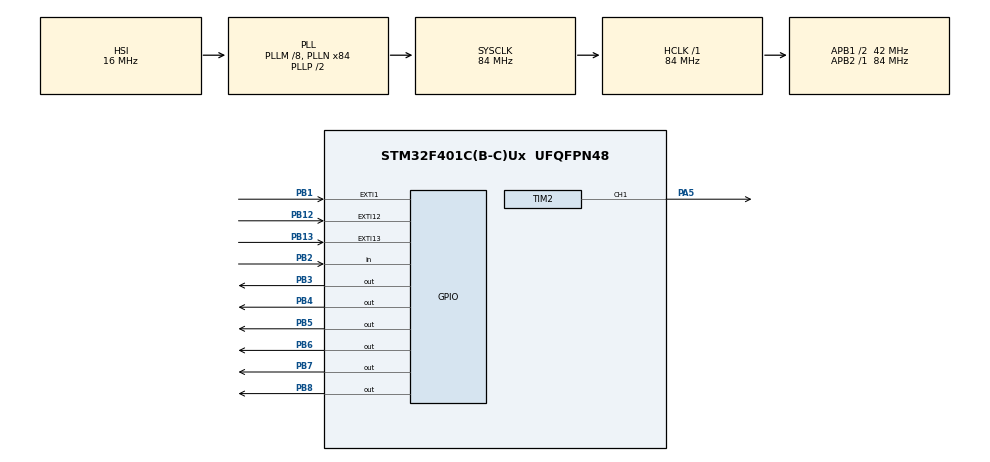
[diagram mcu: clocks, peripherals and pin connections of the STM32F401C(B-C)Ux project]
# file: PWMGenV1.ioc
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Mcu.Family=STM32F4
Mcu.Name=STM32F401C(B-C)Ux
Mcu.Package=UFQFPN48
NVIC.EXTI15_10_IRQn=true\:0\:0\:false\:false\:true\:true\:true\:true
NVIC.EXTI1_IRQn=true\:0\:0\:false\:false\:true\:true\:true\:true
NVIC.PriorityGroup=NVIC_PRIORITYGROUP_4
PA5.GPIO_PuPd=GPIO_PULLDOWN
PA5.GPIO_Speed=GPIO_SPEED_FREQ_VERY_HIGH
PA5.Signal=S_TIM2_CH1_ETR
PB1.GPIO_ModeDefaultEXTI=GPIO_MODE_IT_FALLING
PB1.GPIO_PuPd=GPIO_PULLUP
PB1.Signal=GPXTI1
PB12.GPIO_ModeDefaultEXTI=GPIO_MODE_IT_RISING
PB12.GPIO_PuPd=GPIO_PULLUP
PB12.Signal=GPXTI12
PB13.GPIO_PuPd=GPIO_PULLUP
PB13.Signal=GPXTI13
PB2.GPIO_PuPd=GPIO_PULLUP
PB2.Signal=GPIO_Input
PB3.GPIO_PuPd=GPIO_PULLUP
PB3.Signal=GPIO_Output
PB4.GPIO_PuPd=GPIO_PULLUP
PB4.Signal=GPIO_Output
PB5.GPIO_PuPd=GPIO_PULLUP
PB5.Signal=GPIO_Output
PB6.GPIO_PuPd=GPIO_PULLUP
PB6.Signal=GPIO_Output
PB7.GPIO_PuPd=GPIO_PULLUP
PB7.Signal=GPIO_Output
PB8.GPIO_PuPd=GPIO_PULLUP
PB8.Signal=GPIO_Output
PH0\ -\ OSC_IN.Mode=HSE-External-Oscillator
PH0\ -\ OSC_IN.Signal=RCC_OSC_IN
PH1\ -\ OSC_OUT.Mode=HSE-External-Oscillator
PH1\ -\ OSC_OUT.Signal=RCC_OSC_OUT
ProjectManager.HeapSize=0x200
ProjectManager.StackSize=0x400
ProjectManager.TargetToolchain=STM32CubeIDE
RCC.48MHZClocksFreq_Value=42000000
RCC.AHBFreq_Value=84000000
RCC.APB1CLKDivider=RCC_HCLK_DIV2
RCC.APB1Freq_Value=42000000
RCC.APB1TimFreq_Value=84000000
RCC.APB2Freq_Value=84000000
RCC.APB2TimFreq_Value=84000000
RCC.CortexFreq_Value=84000000
RCC.HCLKFreq_Value=84000000
RCC.HSE_VALUE=25000000
RCC.HSI_VALUE=16000000
RCC.LSE_VALUE=32768
RCC.PLLM=8
RCC.PLLN=84
RCC.SYSCLKFreq_VALUE=84000000
RCC.SYSCLKSource=RCC_SYSCLKSOURCE_PLLCLK
RCC.VCOOutputFreq_Value=168000000
SH.S_TIM2_CH1_ETR.0=TIM2_CH1,PWM Generation1 CH1
TIM2.AutoReloadPreload=TIM_AUTORELOAD_PRELOAD_ENABLE
TIM2.Channel-PWM\ Generation1\ CH1=TIM_CHANNEL_1
TIM2.Period=1399
VP_TIM2_VS_ClockSourceINT.Mode=Internal
board=custom

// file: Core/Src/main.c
/* USER CODE BEGIN Header */
/**
  ******************************************************************************
  * @file           : main.c
  * @brief          : Main program body
  ******************************************************************************
  * @attention
  *
  * Copyright (c) 2023 STMicroelectronics.
  * All rights reserved.
  *
  * This software is licensed under terms that can be found in the LICENSE file
  * in the root directory of this software component.
  * If no LICENSE file comes with this software, it is provided AS-IS.
  *
  ******************************************************************************
  */
/* USER CODE END Header */
#include "main.h"

/* USER CODE BEGIN Includes */
#include "stdio.h"
#include "LCD16x2.h"
/* USER CODE END Includes */

TIM_HandleTypeDef htim2;

void SystemClock_Config(void);
static void MX_GPIO_Init(void);
static void MX_TIM2_Init(void);
/* USER CODE BEGIN PFP */
void HAL_GPIO_EXTI_Callback(uint16_t GPIO_Pin);
static void LCD_Change_Menu(void);
static void LCD_Update(void);
static void LCD_Update_Mul(void);
static void Menu_Front(void);
static void Menu_Set(void);
static void Menu_Set_DS(void);
static void Menu_Set_Freq(void);
static void PWM_Calc(void);
static void PWM_Gen(void);
static void PWM_Stop(void);
/* USER CODE END PFP */

/* USER CODE BEGIN 0 */
int ds;
int freq;
int menu;
int pointer_pos;
int multiplier;
int generate_pwm;

char int_str_ds[3];
char int_str_freq[5];
char int_str_mul;

int LCDRefresh;
int LCDRefreshMenu;
int LCDRefreshPWM;
int LCDRefreshMul;
int PWMRefresh;
int PWMToggle;

int CLKNow;
int CLKPrev;
int DTNow;
int DTPrev;
/* USER CODE END 0 */

int main(void)
{

  /* MCU Configuration--------------------------------------------------------*/

  /* Reset of all peripherals, Initializes the Flash interface and the Systick. */
  HAL_Init();

  /* Configure the system clock */
  SystemClock_Config();

  /* Initialize all configured peripherals */
  MX_GPIO_Init();
  MX_TIM2_Init();
  /* USER CODE BEGIN 2 */
  CLKPrev = HAL_GPIO_ReadPin(GPIOB, GPIO_PIN_1);
  DTPrev = HAL_GPIO_ReadPin(GPIOB, GPIO_PIN_2);
  ds = 50;
  freq = 1000;
  menu = 1;
  pointer_pos = 1;
  multiplier = 0;
  generate_pwm = 0;

  LCDRefresh = 1;
  LCDRefreshPWM = 1;
  LCDRefreshMenu = 1;
  LCDRefreshMul = 0;
  PWMRefresh = 1;
  PWMToggle = 0;

  LCD_Init();
  /* USER CODE END 2 */

  /* Infinite loop */
  while (1)
  {

    /* USER CODE BEGIN 3 */
	  if (LCDRefresh == 1)
	  {
		  if (LCDRefreshMenu == 1)
		  {
			  LCD_Change_Menu();
			  LCDRefreshMenu = 0;
		  }
		  LCD_Update();
		  LCDRefresh = 0;
		  LCDRefreshPWM = 0;
	  }
	  if (LCDRefreshMul == 1)
	  {
		  LCD_Update_Mul();
		  LCDRefreshMul = 0;
	  }
	  if (PWMRefresh == 1)
	  {
		  PWM_Calc();
		  PWMRefresh = 0;
	  }
	  if (PWMToggle == 1)
	  {
		  if(generate_pwm == 1)
		  {
			  PWM_Gen();
		  }
		  else
		  {
			  PWM_Stop();
		  }
		  PWMToggle = 0;
	  }
  }
  /* USER CODE END 3 */
}

void SystemClock_Config(void)
{
  RCC_OscInitTypeDef RCC_OscInitStruct = {0};
  RCC_ClkInitTypeDef RCC_ClkInitStruct = {0};

  /** Configure the main internal regulator output voltage
  */
  __HAL_RCC_PWR_CLK_ENABLE();
  __HAL_PWR_VOLTAGESCALING_CONFIG(PWR_REGULATOR_VOLTAGE_SCALE2);

  /** Initializes the RCC Oscillators according to the specified parameters
  * in the RCC_OscInitTypeDef structure.
  */
  RCC_OscInitStruct.OscillatorType = RCC_OSCILLATORTYPE_HSI;
  RCC_OscInitStruct.HSIState = RCC_HSI_ON;
  RCC_OscInitStruct.HSICalibrationValue = RCC_HSICALIBRATION_DEFAULT;
  RCC_OscInitStruct.PLL.PLLState = RCC_PLL_ON;
  RCC_OscInitStruct.PLL.PLLSource = RCC_PLLSOURCE_HSI;
  RCC_OscInitStruct.PLL.PLLM = 8;
  RCC_OscInitStruct.PLL.PLLN = 84;
  RCC_OscInitStruct.PLL.PLLP = RCC_PLLP_DIV2;
  RCC_OscInitStruct.PLL.PLLQ = 4;
  if (HAL_RCC_OscConfig(&RCC_OscInitStruct) != HAL_OK)
  {
    Error_Handler();
  }

  /** Initializes the CPU, AHB and APB buses clocks
  */
  RCC_ClkInitStruct.ClockType = RCC_CLOCKTYPE_HCLK|RCC_CLOCKTYPE_SYSCLK
                              |RCC_CLOCKTYPE_PCLK1|RCC_CLOCKTYPE_PCLK2;
  RCC_ClkInitStruct.SYSCLKSource = RCC_SYSCLKSOURCE_PLLCLK;
  RCC_ClkInitStruct.AHBCLKDivider = RCC_SYSCLK_DIV1;
  RCC_ClkInitStruct.APB1CLKDivider = RCC_HCLK_DIV2;
  RCC_ClkInitStruct.APB2CLKDivider = RCC_HCLK_DIV1;

  if (HAL_RCC_ClockConfig(&RCC_ClkInitStruct, FLASH_LATENCY_2) != HAL_OK)
  {
    Error_Handler();
  }
}

static void MX_TIM2_Init(void)
{

  TIM_ClockConfigTypeDef sClockSourceConfig = {0};
  TIM_MasterConfigTypeDef sMasterConfig = {0};
  TIM_OC_InitTypeDef sConfigOC = {0};

  htim2.Instance = TIM2;
  htim2.Init.Prescaler = 0;
  htim2.Init.CounterMode = TIM_COUNTERMODE_UP;
  htim2.Init.Period = 1399;
  htim2.Init.ClockDivision = TIM_CLOCKDIVISION_DIV1;
  htim2.Init.AutoReloadPreload = TIM_AUTORELOAD_PRELOAD_ENABLE;
  if (HAL_TIM_Base_Init(&htim2) != HAL_OK)
  {
    Error_Handler();
  }
  sClockSourceConfig.ClockSource = TIM_CLOCKSOURCE_INTERNAL;
  if (HAL_TIM_ConfigClockSource(&htim2, &sClockSourceConfig) != HAL_OK)
  {
    Error_Handler();
  }
  if (HAL_TIM_PWM_Init(&htim2) != HAL_OK)
  {
    Error_Handler();
  }
  sMasterConfig.MasterOutputTrigger = TIM_TRGO_RESET;
  sMasterConfig.MasterSlaveMode = TIM_MASTERSLAVEMODE_DISABLE;
  if (HAL_TIMEx_MasterConfigSynchronization(&htim2, &sMasterConfig) != HAL_OK)
  {
    Error_Handler();
  }
  sConfigOC.OCMode = TIM_OCMODE_PWM1;
  sConfigOC.Pulse = 0;
  sConfigOC.OCPolarity = TIM_OCPOLARITY_HIGH;
  sConfigOC.OCFastMode = TIM_OCFAST_DISABLE;
  if (HAL_TIM_PWM_ConfigChannel(&htim2, &sConfigOC, TIM_CHANNEL_1) != HAL_OK)
  {
    Error_Handler();
  }
  HAL_TIM_MspPostInit(&htim2);

}

static void MX_GPIO_Init(void)
{
  GPIO_InitTypeDef GPIO_InitStruct = {0};

  /* GPIO Ports Clock Enable */
  __HAL_RCC_GPIOH_CLK_ENABLE();
  __HAL_RCC_GPIOA_CLK_ENABLE();
  __HAL_RCC_GPIOB_CLK_ENABLE();

  /*Configure GPIO pin Output Level */
  HAL_GPIO_WritePin(GPIOB, GPIO_PIN_3|GPIO_PIN_4|GPIO_PIN_5|GPIO_PIN_6
                          |GPIO_PIN_7|GPIO_PIN_8, GPIO_PIN_RESET);

  /*Configure GPIO pin : PB1 */
  GPIO_InitStruct.Pin = GPIO_PIN_1;
  GPIO_InitStruct.Mode = GPIO_MODE_IT_FALLING;
  GPIO_InitStruct.Pull = GPIO_PULLUP;
  HAL_GPIO_Init(GPIOB, &GPIO_InitStruct);

  /*Configure GPIO pin : PB2 */
  GPIO_InitStruct.Pin = GPIO_PIN_2;
  GPIO_InitStruct.Mode = GPIO_MODE_INPUT;
  GPIO_InitStruct.Pull = GPIO_PULLUP;
  HAL_GPIO_Init(GPIOB, &GPIO_InitStruct);

  /*Configure GPIO pins : PB12 PB13 */
  GPIO_InitStruct.Pin = GPIO_PIN_12|GPIO_PIN_13;
  GPIO_InitStruct.Mode = GPIO_MODE_IT_RISING;
  GPIO_InitStruct.Pull = GPIO_PULLUP;
  HAL_GPIO_Init(GPIOB, &GPIO_InitStruct);

  /*Configure GPIO pins : PB3 PB4 PB5 PB6
                           PB7 PB8 */
  GPIO_InitStruct.Pin = GPIO_PIN_3|GPIO_PIN_4|GPIO_PIN_5|GPIO_PIN_6
                          |GPIO_PIN_7|GPIO_PIN_8;
  GPIO_InitStruct.Mode = GPIO_MODE_OUTPUT_PP;
  GPIO_InitStruct.Pull = GPIO_PULLUP;
  GPIO_InitStruct.Speed = GPIO_SPEED_FREQ_LOW;
  HAL_GPIO_Init(GPIOB, &GPIO_InitStruct);

  /* EXTI interrupt init*/
  HAL_NVIC_SetPriority(EXTI1_IRQn, 0, 0);
  HAL_NVIC_EnableIRQ(EXTI1_IRQn);

  HAL_NVIC_SetPriority(EXTI15_10_IRQn, 0, 0);
  HAL_NVIC_EnableIRQ(EXTI15_10_IRQn);

}

/* USER CODE BEGIN 4 */
static void LCD_Change_Menu(void)
{
	LCD_Clear();
	switch (menu)
	{
	case 1:
		Menu_Front();
	break;
	case 2:
		Menu_Set();
	break;
	case 3:
		Menu_Set_DS();
	break;
	case 4:
		Menu_Set_Freq();
	break;
	}
	pointer_pos = 1;
	multiplier = 0;
}
static void LCD_Update(void)
{
	switch (menu)
	{
	case 1:
		LCD_Set_Cursor(1, 3);
		LCD_Write_String("     ");
		LCD_Set_Cursor(2, 3);
		LCD_Write_String("     ");
		sprintf(int_str_ds, "%d", ds);
		LCD_Set_Cursor(1, 3);
		LCD_Write_String(int_str_ds);
		sprintf(int_str_freq, "%d", freq);
		LCD_Set_Cursor(2, 3);
		LCD_Write_String(int_str_freq);
		if (LCDRefreshPWM == 1)
		{
			LCD_Set_Cursor(1, 14);
			if (generate_pwm == 1)
			{
				LCD_Write_String("ON ");
			}
			else
			{
				LCD_Write_String("OFF");
			}
		}
		if (pointer_pos == 1)
		{
			LCD_Set_Cursor(2, 13);
			LCD_Write_Char(0xFE);
			LCD_Set_Cursor(1, 13);
			LCD_Write_Char(0x7E);
		}
		else
		{
			LCD_Set_Cursor(1, 13);
			LCD_Write_Char(0xFE);
			LCD_Set_Cursor(2, 13);
			LCD_Write_Char(0x7E);
		}
	break;
	case 2:
		LCD_Set_Cursor(1, 1);
		LCD_Write_Char(0xFE);
		LCD_Set_Cursor(2, 1);
		LCD_Write_Char(0xFE);
		LCD_Set_Cursor(1, 10);
		LCD_Write_Char(0xFE);
		if(pointer_pos == 1)
		{
			LCD_Set_Cursor(1, 1);
			LCD_Write_Char(0x7E);
		}
		else if(pointer_pos == 2)
		{
			LCD_Set_Cursor(2, 1);
			LCD_Write_Char(0x7E);
		}
		else
		{
			LCD_Set_Cursor(1, 10);
			LCD_Write_Char(0x7E);
		}
	break;
	case 3:
		sprintf(int_str_ds, "%d", ds);
		LCD_Set_Cursor(2, 1);
		LCD_Write_String("   ");
		LCD_Set_Cursor(2, 1);
		LCD_Write_String(int_str_ds);
	break;
	case 4:
		sprintf(int_str_freq, "%d", freq);
		LCD_Set_Cursor(2, 1);
		LCD_Write_String("     ");
		LCD_Set_Cursor(2, 1);
		LCD_Write_String(int_str_freq);
	break;
	}
}
static void LCD_Update_Mul(void)
{
	if (menu == 3 || menu == 4)
	{
		int_str_mul = multiplier + '0';
		LCD_Set_Cursor(1, 16);
		LCD_Write_Char(int_str_mul);
	}
}
static void Menu_Front(void)
{
	LCD_Set_Cursor(1, 1);
	LCD_Write_String("D        %      ");
	LCD_Set_Cursor(2, 1);
	LCD_Write_String("F        Hz  SET");
}
static void Menu_Set(void)
{
	LCD_Set_Cursor(1, 1);
	LCD_Write_String(" DS       Return");
	LCD_Set_Cursor(2, 1);
	LCD_Write_String(" Freq           ");
}
static void Menu_Set_DS(void)
{
	LCD_Set_Cursor(1, 1);
	LCD_Write_String("Duty Cycle    M ");
	LCD_Set_Cursor(2, 1);
	LCD_Write_String("               %");
}
static void Menu_Set_Freq(void)
{
	LCD_Set_Cursor(1, 1);
	LCD_Write_String("Frequency     M ");
	LCD_Set_Cursor(2, 1);
	LCD_Write_String("              Hz");
}
static void PWM_Calc(void)
{
	if (freq > 0)
	{
		//TIM2->ARR = 84004200 - (4200 * freq);
		TIM2->PSC = (60000 / freq) - 1;
		if (ds != 0 && ds != 100)
		{
//			TIM2->CCR1 = (TIM2->ARR / 100) * ds;
			TIM2->CCR1 = (TIM2->ARR / 100) * ds;
		}
	}
}
static void PWM_Gen(void)
{
	if (ds == 100 || freq == 0)
	{
		HAL_GPIO_WritePin(GPIOA, GPIO_PIN_5, 0);
	}
	else if (ds == 0)
	{
		HAL_GPIO_WritePin(GPIOA, GPIO_PIN_5, 1);
	}
	else
	{
		HAL_TIM_PWM_Start(&htim2, TIM_CHANNEL_1);
	}
}
static void PWM_Stop(void)
{
	HAL_TIM_PWM_Stop(&htim2, TIM_CHANNEL_1);
	HAL_GPIO_WritePin(GPIOA, GPIO_PIN_5, 0);
}
void HAL_GPIO_EXTI_Callback(uint16_t GPIO_Pin)
{
    if (GPIO_Pin == GPIO_PIN_1)
    {
    	switch(menu)
    	{
    	case 1:
    			if (pointer_pos == 1)
    			{
    				pointer_pos = 2;
    			}
    			else
    			{
    				pointer_pos = 1;
    			}
    	break;
    	case 2:
    			if (HAL_GPIO_ReadPin(GPIOB, GPIO_PIN_2) == 0)
    			{
    				if (pointer_pos < 3)
    				{
    					pointer_pos++;
    				}
    				else
    				{
    					pointer_pos = 1;
    				}
    			}
    			else
    			{
    				if (pointer_pos > 1 )
    				{
    					pointer_pos--;
    				}
    				else
    				{
    					pointer_pos = 3;
    				}
    			}
    	break;
    	case 3:
    			if (HAL_GPIO_ReadPin(GPIOB, GPIO_PIN_2) == 0)
    			{
    				if (ds < 100)
    				{
    					if(multiplier == 1 && ds <= 90)
    					{
    						ds = ds + 10;
    					}
    					else if (multiplier == 1 && ds > 90)
    					{
    						ds = 100;
    					}
    					else
    					{
    						ds++;
    					}
    				}
    				else
    				{
    					ds = 100;
    				}
    			}
    			else if ((HAL_GPIO_ReadPin(GPIOB, GPIO_PIN_2) == 1))
    			{
    				if (ds > 0)
    				{
    					if(multiplier == 1 && ds >= 10)
    					{
    						ds = ds - 10;
    					}
    					else if (multiplier == 1 && ds < 10)
    					{
    						ds = 0;
    					}
    					else
    					{
    						ds--;
    					}
    				}
    				else
    				{
    					ds = 0;
    				}
    			}
    	break;
    	case 4:
    			if (HAL_GPIO_ReadPin(GPIOB, GPIO_PIN_2) == 0)
    			{
    				if (freq < 20000)
    				{
    					if(multiplier == 1 && freq <= 19990)
    					{
    						freq = freq + 10;
    					}
    					else if (multiplier == 1 && freq > 19990)
    					{
    						freq = 20000;
    					}
    					else if (multiplier == 2 && freq <= 19900)
    					{
    						freq = freq + 100;
    					}
    					else if (multiplier == 2 && freq > 19900)
    					{
    						freq = 20000;
    					}
    					else if (multiplier == 3 && freq <= 19000)
    					{
    						freq = freq + 1000;
    					}
    					else if (multiplier == 3 && freq > 19000)
    					{
    						freq = 20000;
    					}
    					else
    					{
    						freq++;
    					}
    				}
    				else
    				{
    					freq = 20000;
    				}
    			}
    			else
    			{
    				if (freq > 0)
    				{
    					if(multiplier == 1 && freq >= 10)
    					{
    						freq = freq - 10;
    					}
    					else if (multiplier == 1 && freq < 10)
    					{
    						freq = 0;
    					}
    					else if (multiplier == 2 && freq >= 100)
    					{
    						freq = freq - 100;
    					}
    					else if (multiplier == 2 && freq < 100)
    					{
    						freq = 0;
    					}
    					else if (multiplier == 3 && freq >= 1000)
    					{
    						freq = freq - 1000;
    					}
    					else if (multiplier == 3 && freq < 1000)
    					{
    						freq = 0;
    					}
    					else
    					{
    						freq--;
    					}
    				}
    				else
    				{
    					freq = 0;
    				}
    			}
    	break;
    	}
    	LCDRefresh = 1;
    }
    else if (GPIO_Pin == GPIO_PIN_12)
    {
    	switch(menu)
    	{
    	case 1:
    		if (pointer_pos == 1)
    		{
    			generate_pwm ^= 1;
    			LCDRefreshPWM = 1;
    			PWMToggle = 1;
    		}
    		else
    		{
    			menu = 2;
    			LCDRefreshMenu = 1;
    		}
    	break;
    	case 2:
    	    if (pointer_pos == 1)
    	    {
    	    	menu = 3;
    	    	LCDRefreshMul = 1;
    	    }
    	    else if (pointer_pos == 2)
    	    {
    	    	menu = 4;
    	    	LCDRefreshMul = 1;
    	    }
    	    else
    	    {
    	    	menu = 1;
    	    	LCDRefreshPWM = 1;
    	    	LCDRefresh = 1;
    	    	PWMRefresh = 1;
    	    }
    	    LCDRefreshMenu = 1;
    	break;
    	case 3:
    		menu = 2;
    		LCDRefreshMenu = 1;
    	break;
    	case 4:
    		menu = 2;
    		LCDRefreshMenu = 1;
    	break;
    	}
    	LCDRefresh = 1;
    }
    else if (GPIO_Pin == GPIO_PIN_13)
    {
    	if (menu == 3)
    	{
    		if (multiplier == 0)
    		{
    			multiplier = 1;
    		}
    		else
    		{
    			multiplier = 0;
    		}
    		LCDRefreshMul = 1;
    	}
    	else if (menu == 4)
    	{
    		if (multiplier < 3)
    		{
    			multiplier ++;
    		}
    		else
    		{
    			multiplier = 0;
    		}
    		LCDRefreshMul = 1;
    	}
    	else
    	{
    		multiplier = 0;
    	}
    }
}

/* USER CODE END 4 */

void Error_Handler(void)
{
  __disable_irq();
  while (1)
  {
  }
}
